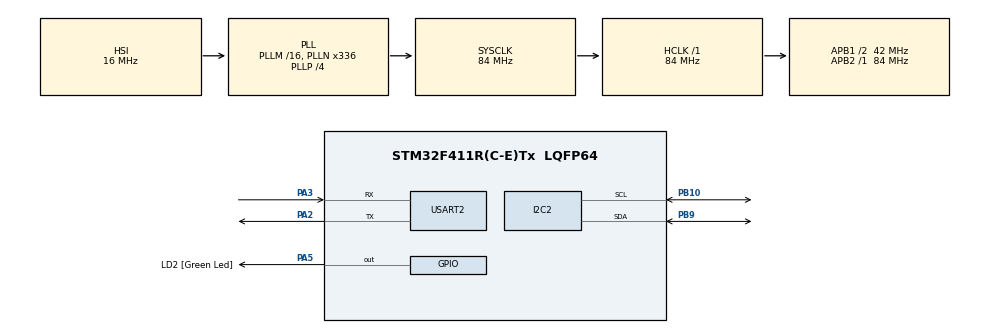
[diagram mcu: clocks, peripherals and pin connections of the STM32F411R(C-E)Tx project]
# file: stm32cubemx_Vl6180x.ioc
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Mcu.Family=STM32F4
Mcu.Name=STM32F411R(C-E)Tx
Mcu.Package=LQFP64
NVIC.PriorityGroup=NVIC_PRIORITYGROUP_0
NVIC.USART2_IRQn=true\:0\:0\:false\:false\:true\:true\:true\:true
PA13.GPIO_Label=TMS
PA13.Mode=Serial_Wire
PA13.Signal=SYS_JTMS-SWDIO
PA14.GPIO_Label=TCK
PA14.Mode=Serial_Wire
PA14.Signal=SYS_JTCK-SWCLK
PA2.Mode=Asynchronous
PA2.Signal=USART2_TX
PA3.Mode=Asynchronous
PA3.Signal=USART2_RX
PA5.GPIO_Label=LD2 [Green Led]
PA5.Signal=GPIO_Output
PB10.Mode=I2C
PB10.Signal=I2C2_SCL
PB9.Mode=I2C
PB9.Signal=I2C2_SDA
ProjectManager.HeapSize=0x200
ProjectManager.StackSize=0x400
ProjectManager.TargetToolchain=MDK-ARM V5.32
RCC.48MHZClocksFreq_Value=84000000
RCC.AHBFreq_Value=84000000
RCC.APB1CLKDivider=RCC_HCLK_DIV2
RCC.APB1Freq_Value=42000000
RCC.APB1TimFreq_Value=84000000
RCC.APB2Freq_Value=84000000
RCC.APB2TimFreq_Value=84000000
RCC.CortexFreq_Value=84000000
RCC.FLatency-AdvancedSettings=FLASH_LATENCY_2
RCC.HCLKFreq_Value=84000000
RCC.HSE_VALUE=8000000
RCC.HSI_VALUE=16000000
RCC.LSE_VALUE=32768
RCC.PLLN=336
RCC.PLLP=RCC_PLLP_DIV4
RCC.SYSCLKFreq_VALUE=84000000
RCC.SYSCLKSource=RCC_SYSCLKSOURCE_PLLCLK
RCC.VCOOutputFreq_Value=336000000
USART2.VirtualMode=VM_ASYNC
board=NUCLEO-F411RE

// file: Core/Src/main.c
/* USER CODE BEGIN Header */
/**
  ******************************************************************************
  * @file           : main.c
  * @brief          : Main program body
  ******************************************************************************
  * @attention
  *
  * Copyright (c) 2023 STMicroelectronics.
  * All rights reserved.
  *
  * This software is licensed under terms that can be found in the LICENSE file
  * in the root directory of this software component.
  * If no LICENSE file comes with this software, it is provided AS-IS.
  *
  ******************************************************************************
  */
/* USER CODE END Header */
#include "main.h"

/* USER CODE BEGIN Includes */
#include <stdio.h>
/* USER CODE END Includes */

I2C_HandleTypeDef hi2c2;

UART_HandleTypeDef huart2;

void SystemClock_Config(void);
static void MX_GPIO_Init(void);
static void MX_USART2_UART_Init(void);
static void MX_I2C2_Init(void);
/* USER CODE BEGIN PFP */
static void VL6180X_Init(void);
//write one byte to VL6180X
static HAL_StatusTypeDef VL6180X_WriteByte(uint16_t regAddress, uint8_t data);
//read one byte from VL6180X
static HAL_StatusTypeDef VL6180X_ReadByte(uint16_t regAddress, uint8_t* data);
//get id of VL6180X
static uint8_t VL6180X_GetID(void);
//get the range from VL6180X
static uint8_t VL6180X_GetRange(void);
//redirect printf to UART2
int fputc(int ch, FILE* f);
/* USER CODE END PFP */

int main(void)
{
  /* USER CODE BEGIN 1 */
	uint8_t buffer;
  /* USER CODE END 1 */

  /* MCU Configuration--------------------------------------------------------*/

  /* Reset of all peripherals, Initializes the Flash interface and the Systick. */
  HAL_Init();

  /* Configure the system clock */
  SystemClock_Config();

  /* Initialize all configured peripherals */
  MX_GPIO_Init();
  MX_USART2_UART_Init();
  MX_I2C2_Init();

  /* Infinite loop */
  /* USER CODE BEGIN WHILE */
  if(VL6180X_GetID()==VL6180X_DEFAULT_ID)
		VL6180X_Init();
  while (1)
  {
		//get range
		buffer = VL6180X_GetRange();
		printf("Range: %d mm \r\n", buffer);
		HAL_Delay(3000);
    /* USER CODE END WHILE */

  }
}

void SystemClock_Config(void)
{
  RCC_OscInitTypeDef RCC_OscInitStruct = {0};
  RCC_ClkInitTypeDef RCC_ClkInitStruct = {0};

  /** Configure the main internal regulator output voltage
  */
  __HAL_RCC_PWR_CLK_ENABLE();
  __HAL_PWR_VOLTAGESCALING_CONFIG(PWR_REGULATOR_VOLTAGE_SCALE1);

  /** Initializes the RCC Oscillators according to the specified parameters
  * in the RCC_OscInitTypeDef structure.
  */
  RCC_OscInitStruct.OscillatorType = RCC_OSCILLATORTYPE_HSI;
  RCC_OscInitStruct.HSIState = RCC_HSI_ON;
  RCC_OscInitStruct.HSICalibrationValue = RCC_HSICALIBRATION_DEFAULT;
  RCC_OscInitStruct.PLL.PLLState = RCC_PLL_ON;
  RCC_OscInitStruct.PLL.PLLSource = RCC_PLLSOURCE_HSI;
  RCC_OscInitStruct.PLL.PLLM = 16;
  RCC_OscInitStruct.PLL.PLLN = 336;
  RCC_OscInitStruct.PLL.PLLP = RCC_PLLP_DIV4;
  RCC_OscInitStruct.PLL.PLLQ = 4;
  if (HAL_RCC_OscConfig(&RCC_OscInitStruct) != HAL_OK)
  {
    Error_Handler();
  }

  /** Initializes the CPU, AHB and APB buses clocks
  */
  RCC_ClkInitStruct.ClockType = RCC_CLOCKTYPE_HCLK|RCC_CLOCKTYPE_SYSCLK
                              |RCC_CLOCKTYPE_PCLK1|RCC_CLOCKTYPE_PCLK2;
  RCC_ClkInitStruct.SYSCLKSource = RCC_SYSCLKSOURCE_PLLCLK;
  RCC_ClkInitStruct.AHBCLKDivider = RCC_SYSCLK_DIV1;
  RCC_ClkInitStruct.APB1CLKDivider = RCC_HCLK_DIV2;
  RCC_ClkInitStruct.APB2CLKDivider = RCC_HCLK_DIV1;

  if (HAL_RCC_ClockConfig(&RCC_ClkInitStruct, FLASH_LATENCY_2) != HAL_OK)
  {
    Error_Handler();
  }
}

static void MX_I2C2_Init(void)
{

  hi2c2.Instance = I2C2;
  hi2c2.Init.ClockSpeed = 100000;
  hi2c2.Init.DutyCycle = I2C_DUTYCYCLE_2;
  hi2c2.Init.OwnAddress1 = 0;
  hi2c2.Init.AddressingMode = I2C_ADDRESSINGMODE_7BIT;
  hi2c2.Init.DualAddressMode = I2C_DUALADDRESS_DISABLE;
  hi2c2.Init.OwnAddress2 = 0;
  hi2c2.Init.GeneralCallMode = I2C_GENERALCALL_DISABLE;
  hi2c2.Init.NoStretchMode = I2C_NOSTRETCH_DISABLE;
  if (HAL_I2C_Init(&hi2c2) != HAL_OK)
  {
    Error_Handler();
  }

}

static void MX_USART2_UART_Init(void)
{

  huart2.Instance = USART2;
  huart2.Init.BaudRate = 115200;
  huart2.Init.WordLength = UART_WORDLENGTH_8B;
  huart2.Init.StopBits = UART_STOPBITS_1;
  huart2.Init.Parity = UART_PARITY_NONE;
  huart2.Init.Mode = UART_MODE_TX_RX;
  huart2.Init.HwFlowCtl = UART_HWCONTROL_NONE;
  huart2.Init.OverSampling = UART_OVERSAMPLING_16;
  if (HAL_UART_Init(&huart2) != HAL_OK)
  {
    Error_Handler();
  }

}

static void MX_GPIO_Init(void)
{
  GPIO_InitTypeDef GPIO_InitStruct = {0};

  /* GPIO Ports Clock Enable */
  __HAL_RCC_GPIOA_CLK_ENABLE();
  __HAL_RCC_GPIOB_CLK_ENABLE();

  /*Configure GPIO pin Output Level */
  HAL_GPIO_WritePin(LD2_GPIO_Port, LD2_Pin, GPIO_PIN_RESET);

  /*Configure GPIO pin : LD2_Pin */
  GPIO_InitStruct.Pin = LD2_Pin;
  GPIO_InitStruct.Mode = GPIO_MODE_OUTPUT_PP;
  GPIO_InitStruct.Pull = GPIO_NOPULL;
  GPIO_InitStruct.Speed = GPIO_SPEED_FREQ_LOW;
  HAL_GPIO_Init(LD2_GPIO_Port, &GPIO_InitStruct);

}

/* USER CODE BEGIN 4 */
/**
  * @brief Init Vl1680x
  * @param  None
  * @retval None
  */
void VL6180X_Init(void)
{
	uint8_t data=0;
	VL6180X_ReadByte(0x016,&data);
	if(data ==1)
	{
		VL6180X_WriteByte(0x0207, 0x01);
		VL6180X_WriteByte(0x0208, 0x01);
		VL6180X_WriteByte(0x0096, 0x00);
		VL6180X_WriteByte(0x0097, 0xfd);
		VL6180X_WriteByte(0x00e3, 0x01);
		VL6180X_WriteByte(0x00e4, 0x03);
		VL6180X_WriteByte(0x00e5, 0x02);
		VL6180X_WriteByte(0x00e6, 0x01);
		VL6180X_WriteByte(0x00e7, 0x03);
		VL6180X_WriteByte(0x00f5, 0x02);
		VL6180X_WriteByte(0x00d9, 0x05);
		VL6180X_WriteByte(0x00db, 0xce);
		VL6180X_WriteByte(0x00dc, 0x03);
		VL6180X_WriteByte(0x00dd, 0xf8);
		VL6180X_WriteByte(0x009f, 0x00);
		VL6180X_WriteByte(0x00a3, 0x3c);
		VL6180X_WriteByte(0x00b7, 0x00);
		VL6180X_WriteByte(0x00bb, 0x3c);
		VL6180X_WriteByte(0x00b2, 0x09);
		VL6180X_WriteByte(0x00ca, 0x09);
		VL6180X_WriteByte(0x0198, 0x01);
		VL6180X_WriteByte(0x01b0, 0x17);
		VL6180X_WriteByte(0x01ad, 0x00);
		VL6180X_WriteByte(0x00ff, 0x05);
		VL6180X_WriteByte(0x0100, 0x05);
		VL6180X_WriteByte(0x0199, 0x05);
		VL6180X_WriteByte(0x01a6, 0x1b);
		VL6180X_WriteByte(0x01ac, 0x3e);
		VL6180X_WriteByte(0x01a7, 0x1f);
		VL6180X_WriteByte(0x0030, 0x00);
		// Recommended : Public registers - See data sheet for more detail
		VL6180X_WriteByte(0x0011, 0x10); // Enables polling for new Sample ready when measurement completes
		VL6180X_WriteByte(0x010a, 0x30); // Set the averaging sample period (compromise between lower noise and increased execution time)
		VL6180X_WriteByte(0x003f, 0x46); // Sets the light and dark gain (upper nibble). Dark gain should not be changed.
		VL6180X_WriteByte(0x0031, 0xFF); // sets the # of range measurements after which auto calibration of system is performed
		VL6180X_WriteByte(0x0040, 0x63); // Set ALS integration time to 100ms
		VL6180X_WriteByte(0x002e, 0x01); // perform a single temperature calibration of the ranging sensor
	  //Optional: Public registers - See data sheet for more detail
		VL6180X_WriteByte(0x001b, 0x09); // Set default ranging inter-measurement period to 100ms
		VL6180X_WriteByte(0x003e, 0x31); // Set default ALS inter-measurement period to 500ms
		VL6180X_WriteByte(0x0014, 0x24); // Configures interrupt on new Sample Ready threshold event�

		VL6180X_WriteByte(0x0016, 0x00);
}

}

/**
  * @brief  Read one byte to  Vl1680x
	* @param  regAddress: Address to Read
	* @param  data: Point to the memory for data
  * @retval HAL_StatusTypeDef
  */
HAL_StatusTypeDef VL6180X_ReadByte(uint16_t regAddress, uint8_t* data)
{
	uint16_t DevAddress=0;
	DevAddress = (VL6180X_DEFAULT_I2C_ADDR<<1)|1;
	return 	HAL_I2C_Mem_Read(&hi2c2, DevAddress, regAddress, VL6180X_REG_ADDRESS_SIZE, data,1,30);
}

/**
  * @brief  Write one byte to  Vl1680x
	* @param  regAddress: Address to write
	* @param  data: Data to be writed
  * @retval HAL_StatusTypeDef
  */
HAL_StatusTypeDef VL6180X_WriteByte(uint16_t regAddress, uint8_t data)
{
	uint16_t DevAddress=0;
	DevAddress = (VL6180X_DEFAULT_I2C_ADDR<<1)&0xFE;
	return HAL_I2C_Mem_Write(&hi2c2, DevAddress, regAddress, VL6180X_REG_ADDRESS_SIZE, &data,1,30);
}

/**
  * @brief  Get ID of Vl1680x
	* @param  None
  * @retval Vl1680x's ID
  */
uint8_t VL6180X_GetID(void)
{
	uint8_t ID;
	if(VL6180X_ReadByte( VL6180X_REG_ID, &ID))
		ID =0;//get fail, return 0
	return ID;
}

/**
  * @brief  Get result of range
	* @param  None
  * @retval Result of range
  */
uint8_t VL6180X_GetRange(void)
{
	uint8_t status,range;
	//get status
	VL6180X_ReadByte( VL6180X_REG_RESULT_RANGE_STATUS, &status);

	while(!(status&0x01))
	{
		//Not ready
		VL6180X_ReadByte( VL6180X_REG_RESULT_RANGE_STATUS, &status);
		HAL_Delay(10);
	}

	//start range by write 0x01 to SYSRANGE_START Register(0x18)
	range=1;
	VL6180X_WriteByte(VL6180X_REG_SYSRANGE_START,range);
	//Wait for ranging completion
	VL6180X_ReadByte( VL6180X_REG_RESULT_INTERRUPT_STATUS, &status);
	while(!(status&0x04))
	{
		VL6180X_ReadByte( VL6180X_REG_RESULT_INTERRUPT_STATUS, &status);
		HAL_Delay(100);
	}
	//get range
	VL6180X_ReadByte(VL6180X_REG_RESULT_RANGE_VAL,&range);
	//clear interrupt status
	VL6180X_WriteByte(VL6180X_REG_SYSTERM_INTERRUPT_CLEAR,0x07);
	return range;
}

/**
  * @brief Redirect fpuc Function to UART2
  * @param  ch:  Data to be send
  * @param  f: Not used
  * @retval None
  */
int fputc(int ch, FILE* f)
{
	//HAL����ʽ
	//HAL_UART_Transmit(&huart2,(uint8_t*)&ch,1,0xffff);
	//UART register begin
	while( (huart2.Instance->SR & 0x40) == 0 );
	huart2.Instance->DR = ch;
	//UART register end
	return ch;
}
/* USER CODE END 4 */

void Error_Handler(void)
{
  __disable_irq();
  while (1)
  {
  }
}
